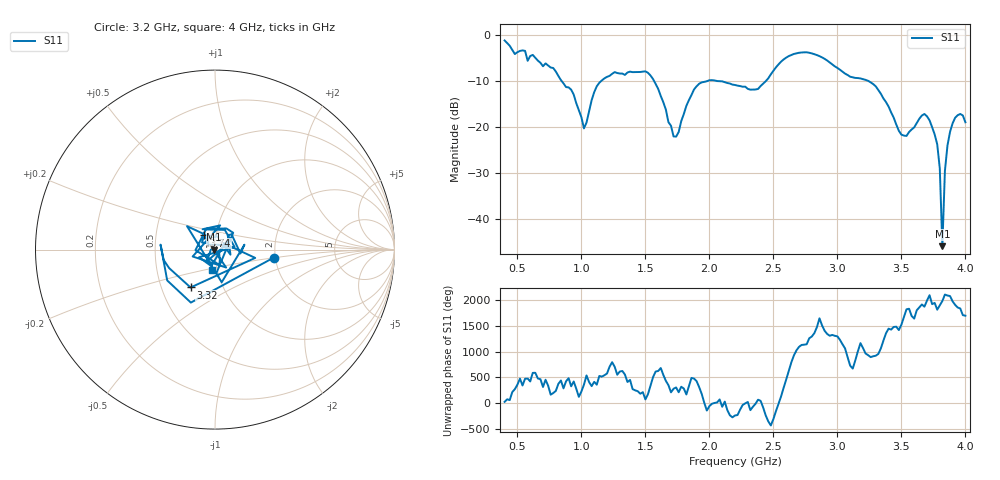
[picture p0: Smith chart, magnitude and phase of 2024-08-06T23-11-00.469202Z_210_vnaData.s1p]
!Created with skrf (http://scikit-rf.org).
# Hz S RI R 50.0
!freq ReS11 ImS11
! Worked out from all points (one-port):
!   181 points, 400 MHz to 4 GHz, reference 50 ohm
!   lowest |S11| = -46.0 dB at 3.82 GHz (marker M1), VSWR 1.01, Z = 49.5 - j0.0677 ohm
!   |S11| at or under -10 dB: 1.567 GHz to 1.987 GHz (419.2 MHz wide, 23.6 % of centre); 2.055 GHz to 2.442 GHz (387.2 MHz wide, 17.2 % of centre); 3.241 GHz to end of sweep (the widest 3 of 4)
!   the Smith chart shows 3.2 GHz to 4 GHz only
!   S11 on the Smith chart (normalised r, x): 3.2 GHz: 1.96, -0.20; 3.32 GHz: 0.70, -0.32; 3.74 GHz: 0.88, +0.14; 4 GHz: 0.95, -0.21
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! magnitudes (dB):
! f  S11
! 400 MHz  -1.2
! 860 MHz  -10.5
! 940 MHz  -13.0
! 1.02 GHz  -20.3
! 1.12 GHz  -11.2
! 1.3 GHz  -8.4
! 1.52 GHz  -8.2
! 1.6 GHz  -11.7
! 1.72 GHz  -22.1
! 1.76 GHz  -21.1
! 1.92 GHz  -10.6
! 2.2 GHz  -10.9
! 2.38 GHz  -11.8
! 2.66 GHz  -4.1
! 3.1 GHz  -9.1
! 3.2 GHz  -9.6
! 3.32 GHz  -12.0
! 3.5 GHz  -21.7
! 3.56 GHz  -21.1
! 3.68 GHz  -17.2
! 3.74 GHz  -20.1
! 3.78 GHz  -23.8
! 3.8 GHz  -29.1
! 3.82 GHz  -46.0
! 3.84 GHz  -29.6
! 3.86 GHz  -24.1
! 3.92 GHz  -18.0
! 4 GHz  -19.0
